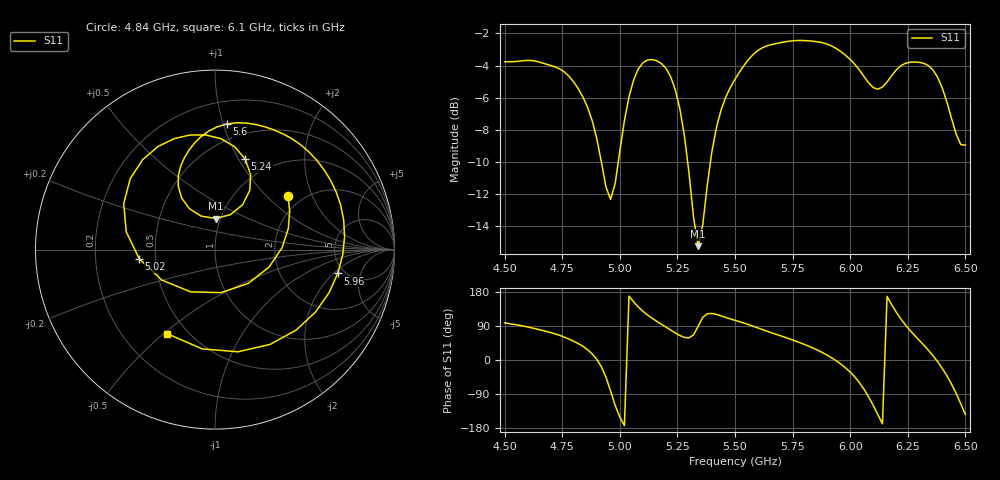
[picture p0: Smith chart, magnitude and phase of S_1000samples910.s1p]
! TOUCHSTONE file generated by CST MICROWAVE STUDIO
! Date and time: Sat Oct 29 18:43:59 2022
! Project name: L.cst
! Parameters = {Di=1.27; Epsilon_r=1.56; InnerDiameter=1.27; Length=2; Lf=10; Lg=60; OuterConductorThickness=0.2921; OuterDiameter=3.6; Wf=3; Wp=41.2; de=1.5; df=6.8; g=0.8; gx=0.445617; gy=0.731262; h=2.34; hf=1.524; px=12.4354; py=11.1201; w=9.7; wx=11.9898; wy=10.3888}
! Header version: 2018
! Port assignment regex: !\s*Touchstone port\s*([0-9]+)\s*=\s*(CST MWS port|CST DS port)\s*([0-9]+|Zmin|Zmax)\s*\(\"(.*)\"\)(\s*mode\s*([0-9]+))?.*
! Touchstone port assignment:
! Touchstone port 1 = CST MWS port 1 ("")
# GHz S DB R 50
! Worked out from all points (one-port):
!   101 points, 4.5 GHz to 6.5 GHz, reference 50 ohm
!   lowest |S11| = -15.2 dB at 5.34 GHz (marker M1), VSWR 1.42, Z = 47.4 + j16.9 ohm
!   |S11| at or under -10 dB: 4.92 GHz to 4.993 GHz (73.13 MHz wide, 1.48 % of centre); 5.295 GHz to 5.394 GHz (98.96 MHz wide, 1.85 % of centre)
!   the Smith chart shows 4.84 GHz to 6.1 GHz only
!   S11 on the Smith chart (normalised r, x): 4.84 GHz: 1.70, +1.35; 5.02 GHz: 0.40, -0.05; 5.24 GHz: 0.75, +1.07; 5.6 GHz: 0.37, +1.03; 5.96 GHz: 4.38, -2.26; 6.1 GHz: 0.39, -0.51
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4.5  -3.76 98.0
4.76  -4.40 60.1
4.84  -5.96 36.1
4.92  -9.99 -17.9
4.96  -12.32 -81.9
5  -9.33 -150.2
5.02  -7.43 -173.1
5.06  -4.90 153.3
5.12  -3.66 119.0
5.24  -5.46 71.7
5.26  -6.64 64.8
5.34  -15.23 88.8
5.42  -7.82 120.2
5.5  -4.85 104.7
5.6  -3.06 84.5
5.76  -2.45 50.7
5.88  -2.58 19.4
5.96  -3.14 -11.0
6  -3.62 -31.9
6.06  -4.68 -77.3
6.1  -5.37 -119.8
6.16  -5.02 167.9
6.22  -4.01 108.3
6.26  -3.79 78.0
6.32  -3.87 38.9
6.38  -4.74 -5.0
6.44  -7.29 -63.6
6.5  -8.95 -143.8
